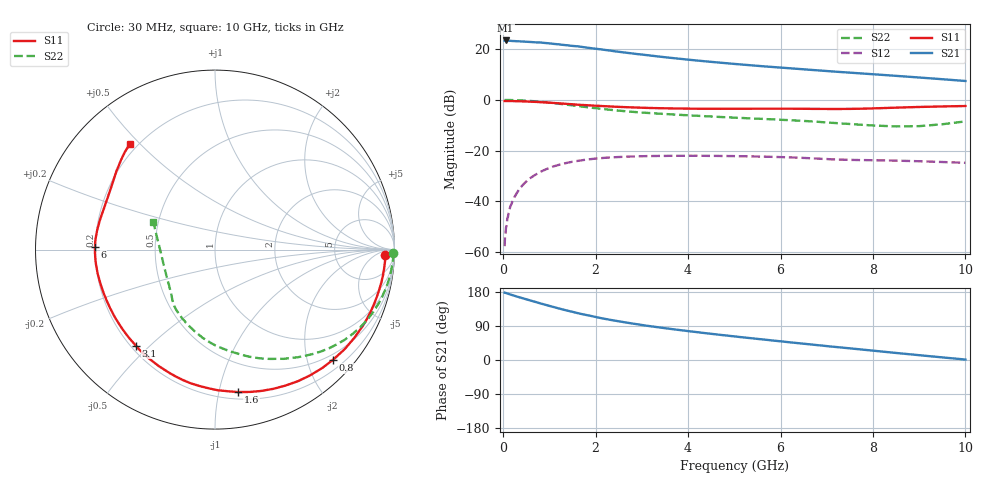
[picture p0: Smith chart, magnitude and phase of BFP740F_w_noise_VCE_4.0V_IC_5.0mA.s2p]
! Infineon Technologies  Discrete & RF Semiconductors
! BFP740F
! VCE =  4.0 V,  IC =  5.0 mA
! Common Emitter S-Parameters:  Oct 2012
# GHz  S  MA  R  50
!  f  S11  S21  S12  S22
! GHz  MAG  ANG  MAG  ANG  MAG  ANG  MAG  ANG
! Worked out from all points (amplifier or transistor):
!   99 points, 30 MHz to 10 GHz, reference 50 ohm
!   highest |S21| = 23.4 dB at 50 MHz (marker M1)
!   |S21| within 3 dB of that: start of sweep to 1.886 GHz
!   unconditionally stable (mu >= 1): 7.5 GHz to end of sweep
!   at 350 MHz: K = 0.08, MSG = 29.1 dB, |S12| = -35.1 dB
!   at 3.5 GHz: K = 0.34, MSG = 19.5 dB, |S12| = -22.1 dB
!   at 10 GHz: K = 1.30, MAG = 12.9 dB, |S12| = -24.9 dB
!   lowest NFmin = 0.37 dB at 450 MHz
!   S11 on the Smith chart (normalised r, x): 30 MHz: 29, -17; 800 MHz: 0.39, -2.49; 1.6 GHz: 0.25, -1.14; 3.1 GHz: 0.22, -0.45; 6 GHz: 0.20, +0.01; 10 GHz: 0.17, +0.47
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0.03  0.9503 -1.7  14.7 177.7  0.0013 71.1  0.9934 -1.1
0.05  0.9491 -2.7  14.82 177.2  0.0023 90.9  0.9931 -1.8
0.09  0.9485 -5.0  14.76 175.5  0.0047 85.1  0.9935 -3.3
0.25  0.9419 -13.8  14.4 169.2  0.0124 79.9  0.9843 -9.1
0.45  0.9306 -24.4  14.06 161.9  0.0222 74.4  0.9673 -16.1
0.8  0.8998 -43.0  13.54 149.5  0.0378 63.4  0.9175 -28.2
1  0.8783 -53.0  12.99 142.7  0.0455 57.4  0.8802 -34.8
1.2  0.8533 -62.6  12.43 136.1  0.0521 51.6  0.8389 -41.1
1.6  0.8041 -80.8  11.38 124.0  0.0623 41.5  0.7569 -52.4
1.7  0.7922 -84.9  11.06 121.2  0.0642 39.3  0.7357 -55.2
2.1  0.7575 -100.2  9.921 110.9  0.0706 30.9  0.6671 -65.7
2.3  0.7407 -106.9  9.386 106.3  0.0728 27.3  0.6377 -70.3
2.7  0.7139 -118.7  8.407 98.1  0.0758 21.2  0.5895 -78.3
3.1  0.6935 -129.5  7.628 90.6  0.0776 16.0  0.553 -85.5
3.4  0.6834 -136.4  7.086 85.6  0.0784 12.5  0.5321 -90.1
3.8  0.6738 -144.9  6.473 79.3  0.0787 8.4  0.5069 -95.4
4.3  0.6672 -154.5  5.834 71.9  0.0787 4.0  0.4788 -101.6
5.1  0.6672 -168.3  5.021 60.9  0.0772 -2.2  0.4402 -110.9
6  0.6687 178.6  4.326 49.3  0.0743 -8.3  0.4045 -121.1
6.7  0.6628 167.7  3.874 40.5  0.0699 -11.9  0.3735 -128.9
8.5  0.7009 141.7  2.971 18.6  0.0632 -14.4  0.2987 -162.0
10  0.755 129.0  2.352 1.2  0.0572 -16.4  0.3756 156.1
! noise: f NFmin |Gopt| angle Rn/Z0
0.45  0.37  0.38  7  0.2
0.9  0.42  0.38  14  0.17
1.5  0.5  0.37  24  0.14
1.9  0.55  0.35  33  0.14
2.4  0.61  0.33  42  0.13
3.5  0.76  0.31  65  0.12
5.5  1.02  0.2  113  0.15
10  1.55  0.42  -127  0.08
